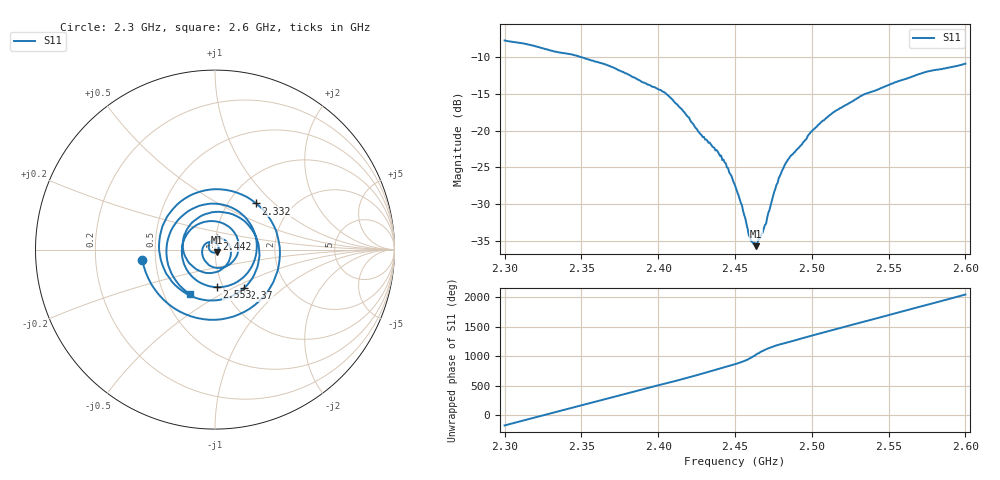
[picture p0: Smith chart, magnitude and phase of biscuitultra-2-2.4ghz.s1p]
! NanoVNA-App
! Date: 2026-05-15 11:41:17
! Start: 2.3GHz Stop: 2.6GHz Points: 401
! S-Parameter data: F S11
# Hz S RI R 50
!  Frequency  S11_Real  S11_Imag
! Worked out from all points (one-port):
!   401 points, 2.3 GHz to 2.6 GHz, reference 50 ohm
!   lowest |S11| = -35.7 dB at 2.463 GHz (marker M1), VSWR 1.03, Z = 50.9 - j1.42 ohm
!   |S11| at or under -10 dB: 2.349 GHz to end of sweep
!   S11 on the Smith chart (normalised r, x): 2.3 GHz: 0.42, -0.06; 2.332 GHz: 1.33, +0.78; 2.37 GHz: 1.24, -0.57; 2.442 GHz: 1.01, +0.13; 2.553 GHz: 0.93, -0.41; 2.6 GHz: 0.68, -0.36
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2.3e9  -0.4053 -0.0569
2.3075e9  -0.2002 -0.3432
2.3135e9  0.0683 -0.3817
2.32325e9  0.3555 -0.0861
2.33225e9  0.2292 0.2571
2.3375e9  0.0312 0.3358
2.35175e9  -0.3113 -0.00493
2.3615e9  -0.1138 -0.2666
2.3705e9  0.1618 -0.2149
2.375e9  0.2353 -0.0996
2.39075e9  0.0205 0.2108
2.402e9  -0.176 0.0639
2.4125e9  -0.0991 -0.1127
2.42675e9  0.0838 -0.0486
2.44175e9  0.00997 0.0621
2.45e9  -0.0341 0.0255
2.4635e9  0.00864 -0.014
2.4875e9  -0.0687 0.00625
2.50475e9  0.0546 -0.0962
2.51525e9  0.1326 0.0294
2.525e9  0.026 0.1528
2.54e9  -0.1846 -0.0114
2.55275e9  0.0101 -0.209
2.5625e9  0.2137 -0.076
2.57e9  0.2044 0.1302
2.57975e9  -0.0391 0.2544
2.59025e9  -0.2669 0.0372
2.6e9  -0.1398 -0.2481
